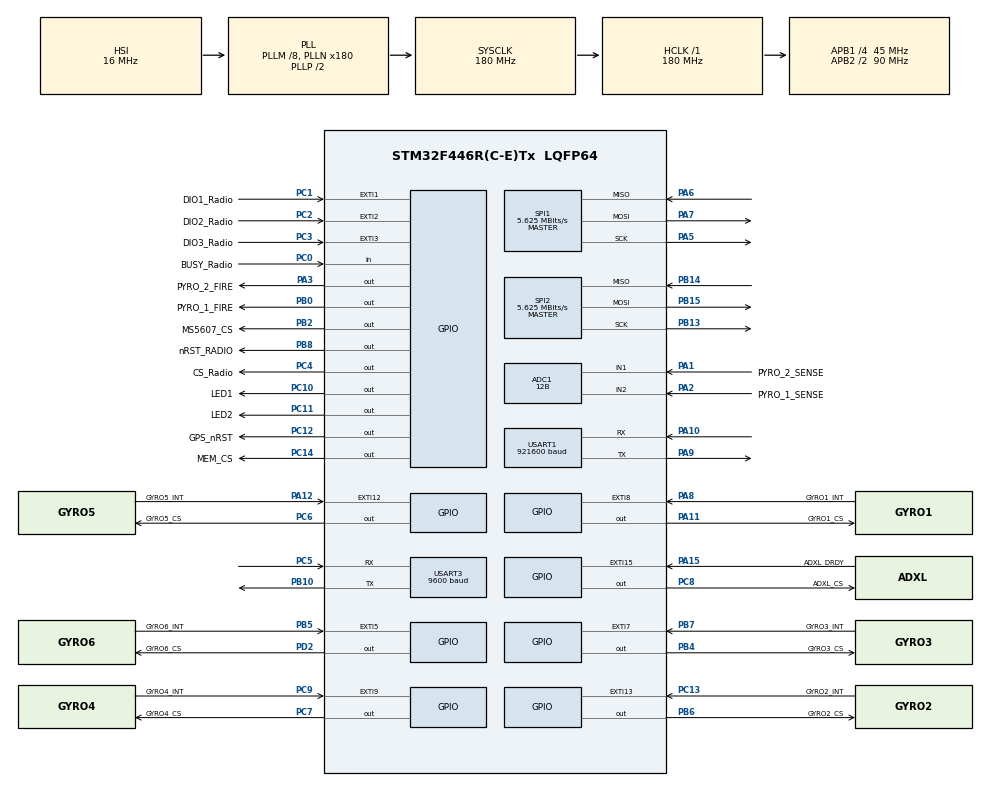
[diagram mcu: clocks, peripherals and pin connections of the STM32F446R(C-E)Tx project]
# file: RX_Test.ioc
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ADC1.Channel-0\#ChannelRegularConversion=ADC_CHANNEL_2
ADC1.ClockPrescaler=ADC_CLOCK_SYNC_PCLK_DIV4
ADC1.ContinuousConvMode=DISABLE
ADC1.DMAContinuousRequests=DISABLE
ADC1.DataAlign=ADC_DATAALIGN_RIGHT
ADC1.DiscontinuousConvMode=DISABLE
ADC1.EOCSelection=ADC_EOC_SINGLE_CONV
ADC1.EnableAnalogWatchDog=false
ADC1.ExternalTrigConv=ADC_SOFTWARE_START
ADC1.ExternalTrigConvEdge=ADC_EXTERNALTRIGCONVEDGE_NONE
ADC1.InjNumberOfConversion=0
ADC1.NbrOfConversion=1
ADC1.NbrOfConversionFlag=1
ADC1.Rank-0\#ChannelRegularConversion=1
ADC1.Resolution=ADC_RESOLUTION_12B
ADC1.SamplingTime-0\#ChannelRegularConversion=ADC_SAMPLETIME_3CYCLES
ADC1.ScanConvMode=DISABLE
ADC1.master=1
Mcu.Family=STM32F4
Mcu.Name=STM32F446R(C-E)Tx
Mcu.Package=LQFP64
NVIC.EXTI15_10_IRQn=true\:1\:0\:true\:false\:true\:true
NVIC.EXTI1_IRQn=true\:1\:0\:true\:false\:true\:true
NVIC.EXTI2_IRQn=true\:1\:0\:true\:false\:true\:true
NVIC.EXTI3_IRQn=true\:1\:0\:true\:false\:true\:true
NVIC.EXTI9_5_IRQn=true\:1\:0\:true\:false\:true\:true
NVIC.PriorityGroup=NVIC_PRIORITYGROUP_4
NVIC.TIM1_UP_TIM10_IRQn=true\:1\:0\:true\:false\:true\:true
NVIC.TIM6_DAC_IRQn=true\:1\:0\:true\:false\:true\:true
NVIC.TIM7_IRQn=true\:1\:0\:true\:false\:true\:true
NVIC.USART1_IRQn=true\:0\:0\:false\:false\:true\:true
NVIC.USART3_IRQn=true\:0\:0\:false\:false\:true\:true
PA1.GPIO_Label=PYRO_2_SENSE
PA1.Signal=ADCx_IN1
PA10.Mode=Asynchronous
PA10.Signal=USART1_RX
PA11.GPIO_Label=GYRO1_CS
PA11.GPIO_Speed=GPIO_SPEED_FREQ_HIGH
PA11.Signal=GPIO_Output
PA12.GPIO_Label=GYRO5_INT
PA12.Signal=GPXTI12
PA13.Mode=Trace_Asynchronous_SW
PA13.Signal=SYS_JTMS-SWDIO
PA14.Mode=Trace_Asynchronous_SW
PA14.Signal=SYS_JTCK-SWCLK
PA15.GPIO_Label=ADXL_DRDY
PA15.Signal=GPXTI15
PA2.GPIO_Label=PYRO_1_SENSE
PA2.Signal=ADCx_IN2
PA3.GPIO_Label=PYRO_2_FIRE
PA3.Signal=GPIO_Output
PA5.Mode=Full_Duplex_Master
PA5.Signal=SPI1_SCK
PA6.Mode=Full_Duplex_Master
PA6.Signal=SPI1_MISO
PA7.Mode=Full_Duplex_Master
PA7.Signal=SPI1_MOSI
PA8.GPIO_Label=GYRO1_INT
PA8.Signal=GPXTI8
PA9.Mode=Asynchronous
PA9.Signal=USART1_TX
PB0.GPIO_Label=PYRO_1_FIRE
PB0.Signal=GPIO_Output
PB10.Mode=Asynchronous
PB10.Signal=USART3_TX
PB13.Mode=Full_Duplex_Master
PB13.Signal=SPI2_SCK
PB14.Mode=Full_Duplex_Master
PB14.Signal=SPI2_MISO
PB15.Mode=Full_Duplex_Master
PB15.Signal=SPI2_MOSI
PB2.GPIO_Label=MS5607_CS
PB2.GPIO_Speed=GPIO_SPEED_FREQ_HIGH
PB2.Signal=GPIO_Output
PB3.Mode=Trace_Asynchronous_SW
PB3.Signal=SYS_JTDO-SWO
PB4.GPIO_Label=GYRO3_CS
PB4.GPIO_Speed=GPIO_SPEED_FREQ_HIGH
PB4.Signal=GPIO_Output
PB5.GPIO_Label=GYRO6_INT
PB5.Signal=GPXTI5
PB6.GPIO_Label=GYRO2_CS
PB6.GPIO_Speed=GPIO_SPEED_FREQ_HIGH
PB6.Signal=GPIO_Output
PB7.GPIO_Label=GYRO3_INT
PB7.Signal=GPXTI7
PB8.GPIO_Label=nRST_RADIO
PB8.Signal=GPIO_Output
PC0.GPIO_Label=BUSY_Radio
PC0.Signal=GPIO_Input
PC1.GPIO_Label=DIO1_Radio
PC1.Signal=GPXTI1
PC10.GPIO_Label=LED1
PC10.Signal=GPIO_Output
PC11.GPIO_Label=LED2
PC11.Signal=GPIO_Output
PC12.GPIO_Label=GPS_nRST
PC12.Signal=GPIO_Output
PC13.GPIO_Label=GYRO2_INT
PC13.Signal=GPXTI13
PC14-OSC32_IN.GPIO_Label=MEM_CS
PC14-OSC32_IN.GPIO_Speed=GPIO_SPEED_FREQ_LOW
PC14-OSC32_IN.Signal=GPIO_Output
PC2.GPIO_Label=DIO2_Radio
PC2.Signal=GPXTI2
PC3.GPIO_Label=DIO3_Radio
PC3.Signal=GPXTI3
PC4.GPIO_Label=CS_Radio
PC4.Signal=GPIO_Output
PC5.Mode=Asynchronous
PC5.Signal=USART3_RX
PC6.GPIO_Label=GYRO5_CS
PC6.GPIO_Speed=GPIO_SPEED_FREQ_HIGH
PC6.Signal=GPIO_Output
PC7.GPIO_Label=GYRO4_CS
PC7.GPIO_Speed=GPIO_SPEED_FREQ_HIGH
PC7.Signal=GPIO_Output
PC8.GPIO_Label=ADXL_CS
PC8.GPIO_Speed=GPIO_SPEED_FREQ_HIGH
PC8.Signal=GPIO_Output
PC9.GPIO_Label=GYRO4_INT
PC9.Signal=GPXTI9
PD2.GPIO_Label=GYRO6_CS
PD2.GPIO_Speed=GPIO_SPEED_FREQ_HIGH
PD2.Signal=GPIO_Output
ProjectManager.HeapSize=0x200
ProjectManager.StackSize=0x400
ProjectManager.TargetToolchain=TrueSTUDIO
RCC.AHBFreq_Value=180000000
RCC.APB1CLKDivider=RCC_HCLK_DIV4
RCC.APB1Freq_Value=45000000
RCC.APB1TimFreq_Value=90000000
RCC.APB2CLKDivider=RCC_HCLK_DIV2
RCC.APB2Freq_Value=90000000
RCC.APB2TimFreq_Value=180000000
RCC.CortexFreq_Value=180000000
RCC.HCLKFreq_Value=180000000
RCC.PLLM=8
RCC.PLLN=180
RCC.SYSCLKFreq_VALUE=180000000
RCC.SYSCLKSource=RCC_SYSCLKSOURCE_PLLCLK
RCC.USBFreq_Value=180000000
RCC.VCOOutputFreq_Value=360000000
SH.ADCx_IN1.0=ADC1_IN1,IN1
SH.ADCx_IN2.0=ADC1_IN2,IN2
SPI1.BaudRatePrescaler=SPI_BAUDRATEPRESCALER_16
SPI1.CalculateBaudRate=5.625 MBits/s
SPI1.Direction=SPI_DIRECTION_2LINES
SPI1.Mode=SPI_MODE_MASTER
SPI1.VirtualType=VM_MASTER
SPI2.BaudRatePrescaler=SPI_BAUDRATEPRESCALER_8
SPI2.CalculateBaudRate=5.625 MBits/s
SPI2.Direction=SPI_DIRECTION_2LINES
SPI2.Mode=SPI_MODE_MASTER
SPI2.VirtualType=VM_MASTER
TIM10.Period=999
TIM10.Prescaler=1799
TIM6.Period=99
TIM6.Prescaler=17999
TIM7.Period=499
TIM7.Prescaler=1799
USART1.BaudRate=921600
USART1.VirtualMode=VM_ASYNC
USART3.BaudRate=9600
USART3.VirtualMode=VM_ASYNC
VP_TIM10_VS_ClockSourceINT.Mode=Enable_Timer
VP_TIM6_VS_ClockSourceINT.Mode=Enable_Timer
VP_TIM7_VS_ClockSourceINT.Mode=Enable_Timer
board=RX_Test

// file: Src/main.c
/**
  ******************************************************************************
  * File Name          : main.c
  * Description        : Main program body
  ******************************************************************************
  ** This notice applies to any and all portions of this file
  * that are not between comment pairs USER CODE BEGIN and
  * USER CODE END. Other portions of this file, whether
  * inserted by the user or by software development tools
  * are owned by their respective copyright owners.
  *
  * COPYRIGHT(c) 2018 STMicroelectronics
  *
  * Redistribution and use in source and binary forms, with or without modification,
  * are permitted provided that the following conditions are met:
  *   1. Redistributions of source code must retain the above copyright notice,
  *      this list of conditions and the following disclaimer.
  *   2. Redistributions in binary form must reproduce the above copyright notice,
  *      this list of conditions and the following disclaimer in the documentation
  *      and/or other materials provided with the distribution.
  *   3. Neither the name of STMicroelectronics nor the names of its contributors
  *      may be used to endorse or promote products derived from this software
  *      without specific prior written permission.
  *
  * THIS SOFTWARE IS PROVIDED BY THE COPYRIGHT HOLDERS AND CONTRIBUTORS "AS IS"
  * AND ANY EXPRESS OR IMPLIED WARRANTIES, INCLUDING, BUT NOT LIMITED TO, THE
  * IMPLIED WARRANTIES OF MERCHANTABILITY AND FITNESS FOR A PARTICULAR PURPOSE ARE
  * DISCLAIMED. IN NO EVENT SHALL THE COPYRIGHT HOLDER OR CONTRIBUTORS BE LIABLE
  * FOR ANY DIRECT, INDIRECT, INCIDENTAL, SPECIAL, EXEMPLARY, OR CONSEQUENTIAL
  * DAMAGES (INCLUDING, BUT NOT LIMITED TO, PROCUREMENT OF SUBSTITUTE GOODS OR
  * SERVICES; LOSS OF USE, DATA, OR PROFITS; OR BUSINESS INTERRUPTION) HOWEVER
  * CAUSED AND ON ANY THEORY OF LIABILITY, WHETHER IN CONTRACT, STRICT LIABILITY,
  * OR TORT (INCLUDING NEGLIGENCE OR OTHERWISE) ARISING IN ANY WAY OUT OF THE USE
  * OF THIS SOFTWARE, EVEN IF ADVISED OF THE POSSIBILITY OF SUCH DAMAGE.
  *
  ******************************************************************************
  */

#include "main.h"
#include "stm32f4xx_hal.h"

ADC_HandleTypeDef hadc1;

SPI_HandleTypeDef hspi1;
SPI_HandleTypeDef hspi2;

TIM_HandleTypeDef htim6;
TIM_HandleTypeDef htim7;
TIM_HandleTypeDef htim10;

UART_HandleTypeDef huart1;
UART_HandleTypeDef huart3;

/* USER CODE BEGIN PV */
/* Private variables ---------------------------------------------------------*/

/* USER CODE END PV */

void SystemClock_Config(void);
static void MX_GPIO_Init(void);
static void MX_ADC1_Init(void);
static void MX_SPI1_Init(void);
static void MX_SPI2_Init(void);
static void MX_TIM10_Init(void);
static void MX_USART1_UART_Init(void);
static void MX_USART3_UART_Init(void);
static void MX_TIM6_Init(void);
static void MX_TIM7_Init(void);

/* USER CODE BEGIN PFP */
/* Private function prototypes -----------------------------------------------*/

/* USER CODE END PFP */

int main(void)
{

  /* MCU Configuration----------------------------------------------------------*/

  /* Reset of all peripherals, Initializes the Flash interface and the Systick. */
  HAL_Init();

  /* Configure the system clock */
  SystemClock_Config();

  /* Initialize all configured peripherals */
  MX_GPIO_Init();
  MX_ADC1_Init();
  MX_SPI1_Init();
  MX_SPI2_Init();
  MX_TIM10_Init();
  MX_USART1_UART_Init();
  MX_USART3_UART_Init();
  MX_TIM6_Init();
  MX_TIM7_Init();

  /* USER CODE BEGIN 2 */
  HAL_GPIO_WritePin(GYRO1_CS_GPIO_Port, GYRO1_CS_Pin, 1);
  HAL_GPIO_WritePin(GYRO2_CS_GPIO_Port, GYRO2_CS_Pin, 1);
  HAL_GPIO_WritePin(GYRO3_CS_GPIO_Port, GYRO3_CS_Pin, 1);
  HAL_GPIO_WritePin(GYRO4_CS_GPIO_Port, GYRO4_CS_Pin, 1);
  HAL_GPIO_WritePin(GYRO5_CS_GPIO_Port, GYRO5_CS_Pin, 1);
  HAL_GPIO_WritePin(GYRO6_CS_GPIO_Port, GYRO6_CS_Pin, 1);
  HAL_GPIO_WritePin(MS5607_CS_GPIO_Port, MS5607_CS_Pin, 1);
  HAL_GPIO_WritePin(ADXL_CS_GPIO_Port, ADXL_CS_Pin, 1);
  HAL_GPIO_WritePin(GPS_nRST_GPIO_Port, GPS_nRST_Pin, 1);
  HAL_GPIO_WritePin(MEM_CS_GPIO_Port, MEM_CS_Pin, 1);
  HAL_GPIO_WritePin(CS_Radio_GPIO_Port, CS_Radio_Pin, 1);

  volatile uint8_t TXData[30] = {0};
  volatile uint8_t RXData[30] = {0};

  HAL_GPIO_WritePin(LED1_GPIO_Port, LED1_Pin, 1);

  //init radio
  init_radio();

  //Set into RXMode single shot
  radio_RXMode();

  while(1){

  }
  /* USER CODE END 2 */

  /* Infinite loop */
  while (1)
  {

  }

}

/** System Clock Configuration
*/
void SystemClock_Config(void)
{

  RCC_OscInitTypeDef RCC_OscInitStruct;
  RCC_ClkInitTypeDef RCC_ClkInitStruct;

    /**Configure the main internal regulator output voltage
    */
  __HAL_RCC_PWR_CLK_ENABLE();

  __HAL_PWR_VOLTAGESCALING_CONFIG(PWR_REGULATOR_VOLTAGE_SCALE1);

    /**Initializes the CPU, AHB and APB busses clocks
    */
  RCC_OscInitStruct.OscillatorType = RCC_OSCILLATORTYPE_HSI;
  RCC_OscInitStruct.HSIState = RCC_HSI_ON;
  RCC_OscInitStruct.HSICalibrationValue = 16;
  RCC_OscInitStruct.PLL.PLLState = RCC_PLL_ON;
  RCC_OscInitStruct.PLL.PLLSource = RCC_PLLSOURCE_HSI;
  RCC_OscInitStruct.PLL.PLLM = 8;
  RCC_OscInitStruct.PLL.PLLN = 180;
  RCC_OscInitStruct.PLL.PLLP = RCC_PLLP_DIV2;
  RCC_OscInitStruct.PLL.PLLQ = 2;
  RCC_OscInitStruct.PLL.PLLR = 2;
  if (HAL_RCC_OscConfig(&RCC_OscInitStruct) != HAL_OK)
  {
    _Error_Handler(__FILE__, __LINE__);
  }

    /**Activate the Over-Drive mode
    */
  if (HAL_PWREx_EnableOverDrive() != HAL_OK)
  {
    _Error_Handler(__FILE__, __LINE__);
  }

    /**Initializes the CPU, AHB and APB busses clocks
    */
  RCC_ClkInitStruct.ClockType = RCC_CLOCKTYPE_HCLK|RCC_CLOCKTYPE_SYSCLK
                              |RCC_CLOCKTYPE_PCLK1|RCC_CLOCKTYPE_PCLK2;
  RCC_ClkInitStruct.SYSCLKSource = RCC_SYSCLKSOURCE_PLLCLK;
  RCC_ClkInitStruct.AHBCLKDivider = RCC_SYSCLK_DIV1;
  RCC_ClkInitStruct.APB1CLKDivider = RCC_HCLK_DIV4;
  RCC_ClkInitStruct.APB2CLKDivider = RCC_HCLK_DIV2;

  if (HAL_RCC_ClockConfig(&RCC_ClkInitStruct, FLASH_LATENCY_5) != HAL_OK)
  {
    _Error_Handler(__FILE__, __LINE__);
  }

    /**Configure the Systick interrupt time
    */
  HAL_SYSTICK_Config(HAL_RCC_GetHCLKFreq()/1000);

    /**Configure the Systick
    */
  HAL_SYSTICK_CLKSourceConfig(SYSTICK_CLKSOURCE_HCLK);

  /* SysTick_IRQn interrupt configuration */
  HAL_NVIC_SetPriority(SysTick_IRQn, 0, 0);
}

/* ADC1 init function */
static void MX_ADC1_Init(void)
{

  ADC_ChannelConfTypeDef sConfig;

    /**Configure the global features of the ADC (Clock, Resolution, Data Alignment and number of conversion)
    */
  hadc1.Instance = ADC1;
  hadc1.Init.ClockPrescaler = ADC_CLOCK_SYNC_PCLK_DIV4;
  hadc1.Init.Resolution = ADC_RESOLUTION_12B;
  hadc1.Init.ScanConvMode = DISABLE;
  hadc1.Init.ContinuousConvMode = DISABLE;
  hadc1.Init.DiscontinuousConvMode = DISABLE;
  hadc1.Init.ExternalTrigConvEdge = ADC_EXTERNALTRIGCONVEDGE_NONE;
  hadc1.Init.ExternalTrigConv = ADC_SOFTWARE_START;
  hadc1.Init.DataAlign = ADC_DATAALIGN_RIGHT;
  hadc1.Init.NbrOfConversion = 1;
  hadc1.Init.DMAContinuousRequests = DISABLE;
  hadc1.Init.EOCSelection = ADC_EOC_SINGLE_CONV;
  if (HAL_ADC_Init(&hadc1) != HAL_OK)
  {
    _Error_Handler(__FILE__, __LINE__);
  }

    /**Configure for the selected ADC regular channel its corresponding rank in the sequencer and its sample time.
    */
  sConfig.Channel = ADC_CHANNEL_2;
  sConfig.Rank = 1;
  sConfig.SamplingTime = ADC_SAMPLETIME_3CYCLES;
  if (HAL_ADC_ConfigChannel(&hadc1, &sConfig) != HAL_OK)
  {
    _Error_Handler(__FILE__, __LINE__);
  }

}

/* SPI1 init function */
static void MX_SPI1_Init(void)
{

  /* SPI1 parameter configuration*/
  hspi1.Instance = SPI1;
  hspi1.Init.Mode = SPI_MODE_MASTER;
  hspi1.Init.Direction = SPI_DIRECTION_2LINES;
  hspi1.Init.DataSize = SPI_DATASIZE_8BIT;
  hspi1.Init.CLKPolarity = SPI_POLARITY_LOW;
  hspi1.Init.CLKPhase = SPI_PHASE_1EDGE;
  hspi1.Init.NSS = SPI_NSS_SOFT;
  hspi1.Init.BaudRatePrescaler = SPI_BAUDRATEPRESCALER_16;
  hspi1.Init.FirstBit = SPI_FIRSTBIT_MSB;
  hspi1.Init.TIMode = SPI_TIMODE_DISABLE;
  hspi1.Init.CRCCalculation = SPI_CRCCALCULATION_DISABLE;
  hspi1.Init.CRCPolynomial = 10;
  if (HAL_SPI_Init(&hspi1) != HAL_OK)
  {
    _Error_Handler(__FILE__, __LINE__);
  }

}

/* SPI2 init function */
static void MX_SPI2_Init(void)
{

  /* SPI2 parameter configuration*/
  hspi2.Instance = SPI2;
  hspi2.Init.Mode = SPI_MODE_MASTER;
  hspi2.Init.Direction = SPI_DIRECTION_2LINES;
  hspi2.Init.DataSize = SPI_DATASIZE_8BIT;
  hspi2.Init.CLKPolarity = SPI_POLARITY_LOW;
  hspi2.Init.CLKPhase = SPI_PHASE_1EDGE;
  hspi2.Init.NSS = SPI_NSS_SOFT;
  hspi2.Init.BaudRatePrescaler = SPI_BAUDRATEPRESCALER_8;
  hspi2.Init.FirstBit = SPI_FIRSTBIT_MSB;
  hspi2.Init.TIMode = SPI_TIMODE_DISABLE;
  hspi2.Init.CRCCalculation = SPI_CRCCALCULATION_DISABLE;
  hspi2.Init.CRCPolynomial = 10;
  if (HAL_SPI_Init(&hspi2) != HAL_OK)
  {
    _Error_Handler(__FILE__, __LINE__);
  }

}

/* TIM6 init function */
static void MX_TIM6_Init(void)
{

  TIM_MasterConfigTypeDef sMasterConfig;

  htim6.Instance = TIM6;
  htim6.Init.Prescaler = 17999;
  htim6.Init.CounterMode = TIM_COUNTERMODE_UP;
  htim6.Init.Period = 99;
  if (HAL_TIM_Base_Init(&htim6) != HAL_OK)
  {
    _Error_Handler(__FILE__, __LINE__);
  }

  sMasterConfig.MasterOutputTrigger = TIM_TRGO_RESET;
  sMasterConfig.MasterSlaveMode = TIM_MASTERSLAVEMODE_DISABLE;
  if (HAL_TIMEx_MasterConfigSynchronization(&htim6, &sMasterConfig) != HAL_OK)
  {
    _Error_Handler(__FILE__, __LINE__);
  }

}

/* TIM7 init function */
static void MX_TIM7_Init(void)
{

  TIM_MasterConfigTypeDef sMasterConfig;

  htim7.Instance = TIM7;
  htim7.Init.Prescaler = 1799;
  htim7.Init.CounterMode = TIM_COUNTERMODE_UP;
  htim7.Init.Period = 499;
  if (HAL_TIM_Base_Init(&htim7) != HAL_OK)
  {
    _Error_Handler(__FILE__, __LINE__);
  }

  sMasterConfig.MasterOutputTrigger = TIM_TRGO_RESET;
  sMasterConfig.MasterSlaveMode = TIM_MASTERSLAVEMODE_DISABLE;
  if (HAL_TIMEx_MasterConfigSynchronization(&htim7, &sMasterConfig) != HAL_OK)
  {
    _Error_Handler(__FILE__, __LINE__);
  }

}

/* TIM10 init function */
static void MX_TIM10_Init(void)
{

  htim10.Instance = TIM10;
  htim10.Init.Prescaler = 1799;
  htim10.Init.CounterMode = TIM_COUNTERMODE_UP;
  htim10.Init.Period = 999;
  htim10.Init.ClockDivision = TIM_CLOCKDIVISION_DIV1;
  if (HAL_TIM_Base_Init(&htim10) != HAL_OK)
  {
    _Error_Handler(__FILE__, __LINE__);
  }

}

/* USART1 init function */
static void MX_USART1_UART_Init(void)
{

  huart1.Instance = USART1;
  huart1.Init.BaudRate = 921600;
  huart1.Init.WordLength = UART_WORDLENGTH_8B;
  huart1.Init.StopBits = UART_STOPBITS_1;
  huart1.Init.Parity = UART_PARITY_NONE;
  huart1.Init.Mode = UART_MODE_TX_RX;
  huart1.Init.HwFlowCtl = UART_HWCONTROL_NONE;
  huart1.Init.OverSampling = UART_OVERSAMPLING_16;
  if (HAL_UART_Init(&huart1) != HAL_OK)
  {
    _Error_Handler(__FILE__, __LINE__);
  }

}

/* USART3 init function */
static void MX_USART3_UART_Init(void)
{

  huart3.Instance = USART3;
  huart3.Init.BaudRate = 9600;
  huart3.Init.WordLength = UART_WORDLENGTH_8B;
  huart3.Init.StopBits = UART_STOPBITS_1;
  huart3.Init.Parity = UART_PARITY_NONE;
  huart3.Init.Mode = UART_MODE_TX_RX;
  huart3.Init.HwFlowCtl = UART_HWCONTROL_NONE;
  huart3.Init.OverSampling = UART_OVERSAMPLING_16;
  if (HAL_UART_Init(&huart3) != HAL_OK)
  {
    _Error_Handler(__FILE__, __LINE__);
  }

}

/** Configure pins as
        * Analog
        * Input
        * Output
        * EVENT_OUT
        * EXTI
*/
static void MX_GPIO_Init(void)
{

  GPIO_InitTypeDef GPIO_InitStruct;

  /* GPIO Ports Clock Enable */
  __HAL_RCC_GPIOC_CLK_ENABLE();
  __HAL_RCC_GPIOA_CLK_ENABLE();
  __HAL_RCC_GPIOB_CLK_ENABLE();
  __HAL_RCC_GPIOD_CLK_ENABLE();

  /*Configure GPIO pin Output Level */
  HAL_GPIO_WritePin(GPIOC, MEM_CS_Pin|CS_Radio_Pin|GYRO5_CS_Pin|GYRO4_CS_Pin
                          |ADXL_CS_Pin|LED1_Pin|LED2_Pin|GPS_nRST_Pin, GPIO_PIN_RESET);

  /*Configure GPIO pin Output Level */
  HAL_GPIO_WritePin(GPIOA, PYRO_2_FIRE_Pin|GYRO1_CS_Pin, GPIO_PIN_RESET);

  /*Configure GPIO pin Output Level */
  HAL_GPIO_WritePin(GPIOB, PYRO_1_FIRE_Pin|MS5607_CS_Pin|GYRO3_CS_Pin|GYRO2_CS_Pin
                          |nRST_RADIO_Pin, GPIO_PIN_RESET);

  /*Configure GPIO pin Output Level */
  HAL_GPIO_WritePin(GYRO6_CS_GPIO_Port, GYRO6_CS_Pin, GPIO_PIN_RESET);

  /*Configure GPIO pins : GYRO2_INT_Pin DIO1_Radio_Pin DIO2_Radio_Pin DIO3_Radio_Pin
                           GYRO4_INT_Pin */
  GPIO_InitStruct.Pin = GYRO2_INT_Pin|DIO1_Radio_Pin|DIO2_Radio_Pin|DIO3_Radio_Pin
                          |GYRO4_INT_Pin;
  GPIO_InitStruct.Mode = GPIO_MODE_IT_RISING;
  GPIO_InitStruct.Pull = GPIO_NOPULL;
  HAL_GPIO_Init(GPIOC, &GPIO_InitStruct);

  /*Configure GPIO pins : MEM_CS_Pin CS_Radio_Pin LED1_Pin LED2_Pin
                           GPS_nRST_Pin */
  GPIO_InitStruct.Pin = MEM_CS_Pin|CS_Radio_Pin|LED1_Pin|LED2_Pin
                          |GPS_nRST_Pin;
  GPIO_InitStruct.Mode = GPIO_MODE_OUTPUT_PP;
  GPIO_InitStruct.Pull = GPIO_NOPULL;
  GPIO_InitStruct.Speed = GPIO_SPEED_FREQ_LOW;
  HAL_GPIO_Init(GPIOC, &GPIO_InitStruct);

  /*Configure GPIO pin : BUSY_Radio_Pin */
  GPIO_InitStruct.Pin = BUSY_Radio_Pin;
  GPIO_InitStruct.Mode = GPIO_MODE_INPUT;
  GPIO_InitStruct.Pull = GPIO_NOPULL;
  HAL_GPIO_Init(BUSY_Radio_GPIO_Port, &GPIO_InitStruct);

  /*Configure GPIO pin : PYRO_2_FIRE_Pin */
  GPIO_InitStruct.Pin = PYRO_2_FIRE_Pin;
  GPIO_InitStruct.Mode = GPIO_MODE_OUTPUT_PP;
  GPIO_InitStruct.Pull = GPIO_NOPULL;
  GPIO_InitStruct.Speed = GPIO_SPEED_FREQ_LOW;
  HAL_GPIO_Init(PYRO_2_FIRE_GPIO_Port, &GPIO_InitStruct);

  /*Configure GPIO pins : PYRO_1_FIRE_Pin nRST_RADIO_Pin */
  GPIO_InitStruct.Pin = PYRO_1_FIRE_Pin|nRST_RADIO_Pin;
  GPIO_InitStruct.Mode = GPIO_MODE_OUTPUT_PP;
  GPIO_InitStruct.Pull = GPIO_NOPULL;
  GPIO_InitStruct.Speed = GPIO_SPEED_FREQ_LOW;
  HAL_GPIO_Init(GPIOB, &GPIO_InitStruct);

  /*Configure GPIO pins : MS5607_CS_Pin GYRO3_CS_Pin GYRO2_CS_Pin */
  GPIO_InitStruct.Pin = MS5607_CS_Pin|GYRO3_CS_Pin|GYRO2_CS_Pin;
  GPIO_InitStruct.Mode = GPIO_MODE_OUTPUT_PP;
  GPIO_InitStruct.Pull = GPIO_NOPULL;
  GPIO_InitStruct.Speed = GPIO_SPEED_FREQ_HIGH;
  HAL_GPIO_Init(GPIOB, &GPIO_InitStruct);

  /*Configure GPIO pins : GYRO5_CS_Pin GYRO4_CS_Pin ADXL_CS_Pin */
  GPIO_InitStruct.Pin = GYRO5_CS_Pin|GYRO4_CS_Pin|ADXL_CS_Pin;
  GPIO_InitStruct.Mode = GPIO_MODE_OUTPUT_PP;
  GPIO_InitStruct.Pull = GPIO_NOPULL;
  GPIO_InitStruct.Speed = GPIO_SPEED_FREQ_HIGH;
  HAL_GPIO_Init(GPIOC, &GPIO_InitStruct);

  /*Configure GPIO pins : GYRO1_INT_Pin GYRO5_INT_Pin ADXL_DRDY_Pin */
  GPIO_InitStruct.Pin = GYRO1_INT_Pin|GYRO5_INT_Pin|ADXL_DRDY_Pin;
  GPIO_InitStruct.Mode = GPIO_MODE_IT_RISING;
  GPIO_InitStruct.Pull = GPIO_NOPULL;
  HAL_GPIO_Init(GPIOA, &GPIO_InitStruct);

  /*Configure GPIO pin : GYRO1_CS_Pin */
  GPIO_InitStruct.Pin = GYRO1_CS_Pin;
  GPIO_InitStruct.Mode = GPIO_MODE_OUTPUT_PP;
  GPIO_InitStruct.Pull = GPIO_NOPULL;
  GPIO_InitStruct.Speed = GPIO_SPEED_FREQ_HIGH;
  HAL_GPIO_Init(GYRO1_CS_GPIO_Port, &GPIO_InitStruct);

  /*Configure GPIO pin : GYRO6_CS_Pin */
  GPIO_InitStruct.Pin = GYRO6_CS_Pin;
  GPIO_InitStruct.Mode = GPIO_MODE_OUTPUT_PP;
  GPIO_InitStruct.Pull = GPIO_NOPULL;
  GPIO_InitStruct.Speed = GPIO_SPEED_FREQ_HIGH;
  HAL_GPIO_Init(GYRO6_CS_GPIO_Port, &GPIO_InitStruct);

  /*Configure GPIO pins : GYRO6_INT_Pin GYRO3_INT_Pin */
  GPIO_InitStruct.Pin = GYRO6_INT_Pin|GYRO3_INT_Pin;
  GPIO_InitStruct.Mode = GPIO_MODE_IT_RISING;
  GPIO_InitStruct.Pull = GPIO_NOPULL;
  HAL_GPIO_Init(GPIOB, &GPIO_InitStruct);

  /* EXTI interrupt init*/
  HAL_NVIC_SetPriority(EXTI1_IRQn, 1, 0);
  HAL_NVIC_EnableIRQ(EXTI1_IRQn);

  HAL_NVIC_SetPriority(EXTI2_IRQn, 1, 0);
  HAL_NVIC_EnableIRQ(EXTI2_IRQn);

  HAL_NVIC_SetPriority(EXTI3_IRQn, 1, 0);
  HAL_NVIC_EnableIRQ(EXTI3_IRQn);

  HAL_NVIC_SetPriority(EXTI9_5_IRQn, 1, 0);
  HAL_NVIC_EnableIRQ(EXTI9_5_IRQn);

  HAL_NVIC_SetPriority(EXTI15_10_IRQn, 1, 0);
  HAL_NVIC_EnableIRQ(EXTI15_10_IRQn);

}

void _Error_Handler(char * file, int line)
{
  while(1)
  {
  }
}

/************************ (C) COPYRIGHT STMicroelectronics *****END OF FILE****/
